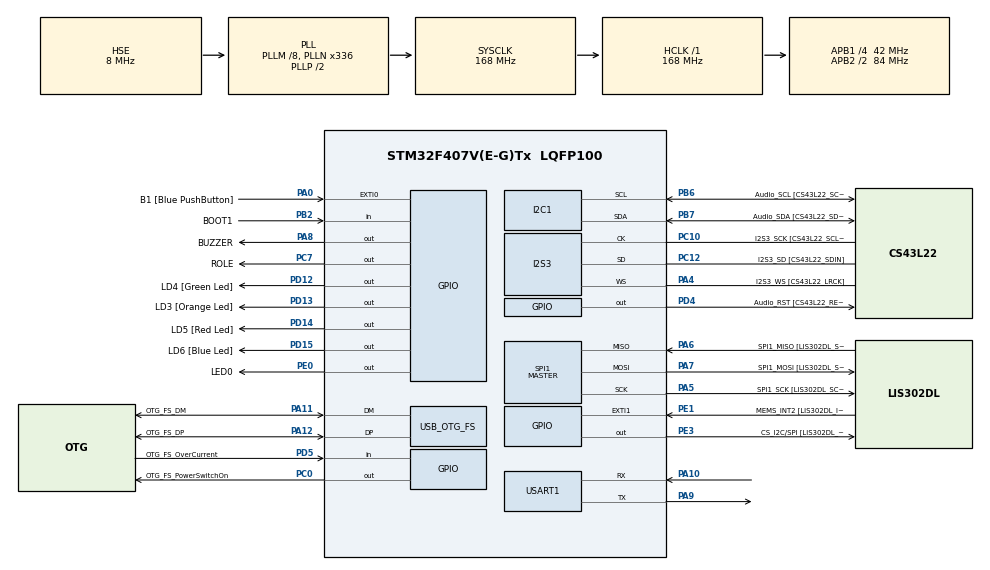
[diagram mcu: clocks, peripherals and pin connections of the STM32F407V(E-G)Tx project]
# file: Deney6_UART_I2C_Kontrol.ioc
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I2S3.ErrorAudioFreq=0.0 %
I2S3.FullDuplexMode=I2S_FULLDUPLEXMODE_DISABLE
I2S3.Instance=SPI$Index
I2S3.RealAudioFreq=8.0 KHz
I2S3.VirtualMode=I2S_MODE_MASTER
Mcu.Family=STM32F4
Mcu.Name=STM32F407V(E-G)Tx
Mcu.Package=LQFP100
NVIC.OTG_FS_IRQn=true\:0\:0\:false\:false\:true\:true\:true\:true
NVIC.PriorityGroup=NVIC_PRIORITYGROUP_0
NVIC.USART1_IRQn=true\:0\:0\:false\:false\:true\:true\:true\:true
PA0-WKUP.GPIO_Label=B1 [Blue PushButton]
PA0-WKUP.GPIO_ModeDefaultEXTI=GPIO_MODE_EVT_RISING
PA0-WKUP.GPIO_PuPd=GPIO_NOPULL
PA0-WKUP.Signal=GPXTI0
PA10.Mode=Asynchronous
PA10.Signal=USART1_RX
PA11.GPIO_Label=OTG_FS_DM
PA11.GPIO_Mode=GPIO_MODE_AF_PP
PA11.GPIO_PuPd=GPIO_NOPULL
PA11.GPIO_Speed=GPIO_SPEED_FREQ_LOW
PA11.Mode=Host_Only
PA11.Signal=USB_OTG_FS_DM
PA12.GPIO_Label=OTG_FS_DP
PA12.GPIO_Mode=GPIO_MODE_AF_PP
PA12.GPIO_PuPd=GPIO_NOPULL
PA12.GPIO_Speed=GPIO_SPEED_FREQ_LOW
PA12.Mode=Host_Only
PA12.Signal=USB_OTG_FS_DP
PA13.GPIO_Label=SWDIO
PA13.Mode=Serial_Wire
PA13.Signal=SYS_JTMS-SWDIO
PA14.GPIO_Label=SWCLK
PA14.Mode=Serial_Wire
PA14.Signal=SYS_JTCK-SWCLK
PA4.GPIO_Label=I2S3_WS [CS43L22_LRCK]
PA4.GPIO_Mode=GPIO_MODE_AF_PP
PA4.GPIO_PuPd=GPIO_NOPULL
PA4.GPIO_Speed=GPIO_SPEED_FREQ_LOW
PA4.Mode=Half_Duplex_Master
PA4.Signal=I2S3_WS
PA5.GPIO_Label=SPI1_SCK [LIS302DL_SCL/SPC]
PA5.GPIO_Mode=GPIO_MODE_AF_PP
PA5.GPIO_PuPd=GPIO_NOPULL
PA5.GPIO_Speed=GPIO_SPEED_FREQ_LOW
PA5.Mode=Full_Duplex_Master
PA5.Signal=SPI1_SCK
PA6.GPIO_Label=SPI1_MISO [LIS302DL_SDO]
PA6.GPIO_Mode=GPIO_MODE_AF_PP
PA6.GPIO_PuPd=GPIO_NOPULL
PA6.GPIO_Speed=GPIO_SPEED_FREQ_LOW
PA6.Mode=Full_Duplex_Master
PA6.Signal=SPI1_MISO
PA7.GPIO_Label=SPI1_MOSI [LIS302DL_SDA/SDI/SDO]
PA7.GPIO_Mode=GPIO_MODE_AF_PP
PA7.GPIO_PuPd=GPIO_NOPULL
PA7.GPIO_Speed=GPIO_SPEED_FREQ_LOW
PA7.Mode=Full_Duplex_Master
PA7.Signal=SPI1_MOSI
PA8.GPIO_Label=BUZZER
PA8.Signal=GPIO_Output
PA9.Mode=Asynchronous
PA9.Signal=USART1_TX
PB10.GPIO_Label=CLK_IN [MP45DT02_CLK]
PB10.GPIO_Mode=GPIO_MODE_AF_PP
PB10.GPIO_PuPd=GPIO_NOPULL
PB10.GPIO_Speed=GPIO_SPEED_FREQ_LOW
PB10.Signal=I2S2_CK
PB2.GPIO_Label=BOOT1
PB2.GPIO_Mode=GPIO_MODE_INPUT
PB2.GPIO_PuPd=GPIO_NOPULL
PB2.Signal=GPIO_Input
PB3.GPIO_Label=SWO
PB3.Signal=SYS_JTDO-SWO
PB6.GPIO_Label=Audio_SCL [CS43L22_SCL]
PB6.GPIO_Mode=GPIO_MODE_AF_OD
PB6.GPIO_Pu=GPIO_PULLUP
PB6.GPIO_PuPd=GPIO_NOPULL
PB6.GPIO_Speed=GPIO_SPEED_FREQ_LOW
PB6.Mode=I2C
PB6.Signal=I2C1_SCL
PB7.GPIO_Label=Audio_SDA [CS43L22_SDA]
PB7.GPIO_Mode=GPIO_MODE_AF_OD
PB7.GPIO_Pu=GPIO_PULLUP
PB7.GPIO_Speed=GPIO_SPEED_FREQ_LOW
PB7.Mode=I2C
PB7.Signal=I2C1_SDA
PC0.GPIO_Label=OTG_FS_PowerSwitchOn
PC0.GPIO_PuPd=GPIO_NOPULL
PC0.GPIO_Speed=GPIO_SPEED_FREQ_LOW
PC0.PinState=GPIO_PIN_SET
PC0.Signal=GPIO_Output
PC10.GPIO_Label=I2S3_SCK [CS43L22_SCLK]
PC10.GPIO_Mode=GPIO_MODE_AF_PP
PC10.GPIO_PuPd=GPIO_NOPULL
PC10.GPIO_Speed=GPIO_SPEED_FREQ_LOW
PC10.Mode=Half_Duplex_Master
PC10.Signal=I2S3_CK
PC12.GPIO_Label=I2S3_SD [CS43L22_SDIN]
PC12.GPIO_Mode=GPIO_MODE_AF_PP
PC12.GPIO_PuPd=GPIO_NOPULL
PC12.GPIO_Speed=GPIO_SPEED_FREQ_LOW
PC12.Mode=Half_Duplex_Master
PC12.Signal=I2S3_SD
PC14-OSC32_IN.GPIO_Label=PC14-OSC32_IN
PC14-OSC32_IN.Mode=LSE-External-Oscillator
PC14-OSC32_IN.Signal=RCC_OSC32_IN
PC15-OSC32_OUT.GPIO_Label=PC15-OSC32_OUT
PC15-OSC32_OUT.Mode=LSE-External-Oscillator
PC15-OSC32_OUT.Signal=RCC_OSC32_OUT
PC3.GPIO_Label=PDM_OUT [MP45DT02_DOUT]
PC3.GPIO_Mode=GPIO_MODE_AF_PP
PC3.GPIO_PuPd=GPIO_NOPULL
PC3.GPIO_Speed=GPIO_SPEED_FREQ_LOW
PC3.Signal=I2S2_SD
PC7.GPIO_Label=ROLE
PC7.Signal=GPIO_Output
PD12.GPIO_Label=LD4 [Green Led]
PD12.GPIO_PuPd=GPIO_NOPULL
PD12.GPIO_Speed=GPIO_SPEED_FREQ_LOW
PD12.Signal=GPIO_Output
PD13.GPIO_Label=LD3 [Orange Led]
PD13.GPIO_PuPd=GPIO_NOPULL
PD13.GPIO_Speed=GPIO_SPEED_FREQ_LOW
PD13.Signal=GPIO_Output
PD14.GPIO_Label=LD5 [Red Led]
PD14.GPIO_PuPd=GPIO_NOPULL
PD14.GPIO_Speed=GPIO_SPEED_FREQ_LOW
PD14.Signal=GPIO_Output
PD15.GPIO_Label=LD6 [Blue Led]
PD15.GPIO_PuPd=GPIO_NOPULL
PD15.GPIO_Speed=GPIO_SPEED_FREQ_LOW
PD15.Signal=GPIO_Output
PD4.GPIO_Label=Audio_RST [CS43L22_RESET]
PD4.GPIO_PuPd=GPIO_NOPULL
PD4.GPIO_Speed=GPIO_SPEED_FREQ_LOW
PD4.Signal=GPIO_Output
PD5.GPIO_Label=OTG_FS_OverCurrent
PD5.GPIO_Mode=GPIO_MODE_INPUT
PD5.GPIO_PuPd=GPIO_NOPULL
PD5.Signal=GPIO_Input
PE0.GPIO_Label=LED0
PE0.Signal=GPIO_Output
PE1.GPIO_Label=MEMS_INT2 [LIS302DL_INT2]
PE1.GPIO_ModeDefaultEXTI=GPIO_MODE_EVT_RISING
PE1.GPIO_PuPd=GPIO_NOPULL
PE1.Signal=GPXTI1
PE3.GPIO_Label=CS_I2C/SPI [LIS302DL_CS_I2C/SPI]
PE3.GPIO_PuPd=GPIO_NOPULL
PE3.GPIO_Speed=GPIO_SPEED_FREQ_LOW
PE3.Signal=GPIO_Output
PH0-OSC_IN.GPIO_Label=PH0-OSC_IN
PH0-OSC_IN.Mode=HSE-External-Oscillator
PH0-OSC_IN.Signal=RCC_OSC_IN
PH1-OSC_OUT.GPIO_Label=PH1-OSC_OUT
PH1-OSC_OUT.Mode=HSE-External-Oscillator
PH1-OSC_OUT.Signal=RCC_OSC_OUT
ProjectManager.HeapSize=0x200
ProjectManager.StackSize=0x400
ProjectManager.TargetToolchain=STM32CubeIDE
RCC.48MHZClocksFreq_Value=48000000
RCC.AHBFreq_Value=168000000
RCC.APB1CLKDivider=RCC_HCLK_DIV4
RCC.APB1Freq_Value=42000000
RCC.APB1TimFreq_Value=84000000
RCC.APB2CLKDivider=RCC_HCLK_DIV2
RCC.APB2Freq_Value=84000000
RCC.APB2TimFreq_Value=168000000
RCC.CortexFreq_Value=168000000
RCC.HCLKFreq_Value=168000000
RCC.HSE_VALUE=8000000
RCC.HSI_VALUE=16000000
RCC.PLLM=8
RCC.PLLN=336
RCC.PLLQ=7
RCC.SYSCLKFreq_VALUE=168000000
RCC.SYSCLKSource=RCC_SYSCLKSOURCE_PLLCLK
RCC.VCOOutputFreq_Value=336000000
SPI1.BaudRatePrescaler-Full_Duplex_Master=SPI_BAUDRATEPRESCALER_2
SPI1.CalculateBaudRate-Full_Duplex_Master=42.0 MBits/s
SPI1.Direction=SPI_DIRECTION_2LINES
SPI1.Mode=SPI_MODE_MASTER
SPI1.Mode-Full_Duplex_Master=SPI_MODE_MASTER
SPI1.VirtualType=VM_MASTER
USART1.VirtualMode=VM_ASYNC
USB_HOST.BSP.number=1
USB_HOST.USBH_HandleTypeDef-CDC_FS=hUsbHostFS
USB_HOST.VirtualModeFS=Cdc
USB_HOST0.BSP.STBoard=false
USB_HOST0.BSP.api=Unknown
USB_HOST0.BSP.instance=PC0
USB_HOST0.BSP.ip=GPIO
USB_HOST0.BSP.mode=Output
USB_HOST0.BSP.name=Drive_VBUS_FS
USB_HOST0.BSP.solution=PC0
USB_OTG_FS.VirtualMode=Host_Only
USB_OTG_FS.phy_itface=HCD_PHY_EMBEDDED
VP_USB_HOST_VS_USB_HOST_CDC_FS.Mode=CDC_FS
board=STM32F407G-DISC1

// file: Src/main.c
/* USER CODE BEGIN Header */
/**
  ******************************************************************************
  * @file           : main.c
  * @brief          : Main program body
  ******************************************************************************
  * @attention
  *
  * Copyright (c) 2026 STMicroelectronics.
  * All rights reserved.
  *
  * This software is licensed under terms that can be found in the LICENSE file
  * in the root directory of this software component.
  * If no LICENSE file comes with this software, it is provided AS-IS.
  *
  ******************************************************************************
  */
/* USER CODE END Header */
#include "main.h"
#include "usb_host.h"

/* USER CODE BEGIN Includes */
#include "ssd1306.h"        // OLED Ana Kütüphanesi
#include "ssd1306_fonts.h"  // <--- BUNU EKLE (Font Kütüphanesi)
#include <string.h>
#include <stdio.h>
/* USER CODE END Includes */

I2C_HandleTypeDef hi2c1;

I2S_HandleTypeDef hi2s3;

SPI_HandleTypeDef hspi1;

UART_HandleTypeDef huart1;

/* USER CODE BEGIN PV */
// UART üzerinden asenkron olarak alınacak 1 Byte'lık komutu tutan değişken
uint8_t rx_buffer;
/* USER CODE END PV */

void SystemClock_Config(void);
static void MX_GPIO_Init(void);
static void MX_I2C1_Init(void);
static void MX_I2S3_Init(void);
static void MX_SPI1_Init(void);
static void MX_USART1_UART_Init(void);
void MX_USB_HOST_Process(void);

int main(void)
{

  /* MCU Configuration--------------------------------------------------------*/

  /* Reset of all peripherals, Initializes the Flash interface and the Systick. */
  HAL_Init();

  /* Configure the system clock */
  SystemClock_Config();

  /* Initialize all configured peripherals */
  MX_GPIO_Init();
  MX_I2C1_Init();
  MX_I2S3_Init();
  MX_SPI1_Init();
  MX_USB_HOST_Init();
  MX_USART1_UART_Init();
  /* USER CODE BEGIN 2 */

    // --- 1. OLED Ekran Başlatma Rutini ---
    HAL_Delay(200);
  	ssd1306_Init();                         // I2C üzerinden ekrana başlangıç komutlarını gönderir
    ssd1306_Fill(Black);                    // Ekran belleğini temizler (Siyah renk)

    ssd1306_SetCursor(5, 10);               // X:5, Y:10 koordinatına git
    ssd1306_WriteString("SISTEM HAZIR", Font_11x18, White);

    ssd1306_SetCursor(5, 35);
    ssd1306_WriteString("Baglanti Bekleniyor", Font_7x10, White);
    ssd1306_UpdateScreen();                 // Yazılanları RAM'den fiziksel ekrana aktarır

    // --- 2. UART Kesmesinin (Interrupt) Başlatılması ---
    // USART2 üzerinden 1 byte veri geldiğinde donanım kesmesi oluşturmasını sağlar.
    HAL_UART_Receive_IT(&huart1, &rx_buffer, 1); // huart2 yerine huart1 olacak

  /* USER CODE END 2 */

  /* Infinite loop */
  while (1)
  {
    MX_USB_HOST_Process();

    /* USER CODE BEGIN 3 */
                         // Yarım saniye bekle
  /* USER CODE END 3 */
}
}
void SystemClock_Config(void)
{
  RCC_OscInitTypeDef RCC_OscInitStruct = {0};
  RCC_ClkInitTypeDef RCC_ClkInitStruct = {0};

  /** Configure the main internal regulator output voltage
  */
  __HAL_RCC_PWR_CLK_ENABLE();
  __HAL_PWR_VOLTAGESCALING_CONFIG(PWR_REGULATOR_VOLTAGE_SCALE1);

  /** Initializes the RCC Oscillators according to the specified parameters
  * in the RCC_OscInitTypeDef structure.
  */
  RCC_OscInitStruct.OscillatorType = RCC_OSCILLATORTYPE_HSE;
  RCC_OscInitStruct.HSEState = RCC_HSE_ON;
  RCC_OscInitStruct.PLL.PLLState = RCC_PLL_ON;
  RCC_OscInitStruct.PLL.PLLSource = RCC_PLLSOURCE_HSE;
  RCC_OscInitStruct.PLL.PLLM = 8;
  RCC_OscInitStruct.PLL.PLLN = 336;
  RCC_OscInitStruct.PLL.PLLP = RCC_PLLP_DIV2;
  RCC_OscInitStruct.PLL.PLLQ = 7;
  if (HAL_RCC_OscConfig(&RCC_OscInitStruct) != HAL_OK)
  {
    Error_Handler();
  }

  /** Initializes the CPU, AHB and APB buses clocks
  */
  RCC_ClkInitStruct.ClockType = RCC_CLOCKTYPE_HCLK|RCC_CLOCKTYPE_SYSCLK
                              |RCC_CLOCKTYPE_PCLK1|RCC_CLOCKTYPE_PCLK2;
  RCC_ClkInitStruct.SYSCLKSource = RCC_SYSCLKSOURCE_PLLCLK;
  RCC_ClkInitStruct.AHBCLKDivider = RCC_SYSCLK_DIV1;
  RCC_ClkInitStruct.APB1CLKDivider = RCC_HCLK_DIV4;
  RCC_ClkInitStruct.APB2CLKDivider = RCC_HCLK_DIV2;

  if (HAL_RCC_ClockConfig(&RCC_ClkInitStruct, FLASH_LATENCY_5) != HAL_OK)
  {
    Error_Handler();
  }
}

static void MX_I2C1_Init(void)
{

  hi2c1.Instance = I2C1;
  hi2c1.Init.ClockSpeed = 100000;
  hi2c1.Init.DutyCycle = I2C_DUTYCYCLE_2;
  hi2c1.Init.OwnAddress1 = 0;
  hi2c1.Init.AddressingMode = I2C_ADDRESSINGMODE_7BIT;
  hi2c1.Init.DualAddressMode = I2C_DUALADDRESS_DISABLE;
  hi2c1.Init.OwnAddress2 = 0;
  hi2c1.Init.GeneralCallMode = I2C_GENERALCALL_DISABLE;
  hi2c1.Init.NoStretchMode = I2C_NOSTRETCH_DISABLE;
  if (HAL_I2C_Init(&hi2c1) != HAL_OK)
  {
    Error_Handler();
  }

}

static void MX_I2S3_Init(void)
{

  hi2s3.Instance = SPI3;
  hi2s3.Init.Mode = I2S_MODE_MASTER_TX;
  hi2s3.Init.Standard = I2S_STANDARD_PHILIPS;
  hi2s3.Init.DataFormat = I2S_DATAFORMAT_16B;
  hi2s3.Init.MCLKOutput = I2S_MCLKOUTPUT_DISABLE;
  hi2s3.Init.AudioFreq = I2S_AUDIOFREQ_8K;
  hi2s3.Init.CPOL = I2S_CPOL_LOW;
  hi2s3.Init.ClockSource = I2S_CLOCK_PLL;
  hi2s3.Init.FullDuplexMode = I2S_FULLDUPLEXMODE_DISABLE;
  if (HAL_I2S_Init(&hi2s3) != HAL_OK)
  {
    Error_Handler();
  }

}

static void MX_SPI1_Init(void)
{

  /* SPI1 parameter configuration*/
  hspi1.Instance = SPI1;
  hspi1.Init.Mode = SPI_MODE_MASTER;
  hspi1.Init.Direction = SPI_DIRECTION_2LINES;
  hspi1.Init.DataSize = SPI_DATASIZE_8BIT;
  hspi1.Init.CLKPolarity = SPI_POLARITY_LOW;
  hspi1.Init.CLKPhase = SPI_PHASE_1EDGE;
  hspi1.Init.NSS = SPI_NSS_SOFT;
  hspi1.Init.BaudRatePrescaler = SPI_BAUDRATEPRESCALER_2;
  hspi1.Init.FirstBit = SPI_FIRSTBIT_MSB;
  hspi1.Init.TIMode = SPI_TIMODE_DISABLE;
  hspi1.Init.CRCCalculation = SPI_CRCCALCULATION_DISABLE;
  hspi1.Init.CRCPolynomial = 10;
  if (HAL_SPI_Init(&hspi1) != HAL_OK)
  {
    Error_Handler();
  }

}

static void MX_USART1_UART_Init(void)
{

  huart1.Instance = USART1;
  huart1.Init.BaudRate = 115200;
  huart1.Init.WordLength = UART_WORDLENGTH_8B;
  huart1.Init.StopBits = UART_STOPBITS_1;
  huart1.Init.Parity = UART_PARITY_NONE;
  huart1.Init.Mode = UART_MODE_TX_RX;
  huart1.Init.HwFlowCtl = UART_HWCONTROL_NONE;
  huart1.Init.OverSampling = UART_OVERSAMPLING_16;
  if (HAL_UART_Init(&huart1) != HAL_OK)
  {
    Error_Handler();
  }

}

static void MX_GPIO_Init(void)
{
  GPIO_InitTypeDef GPIO_InitStruct = {0};

  /* GPIO Ports Clock Enable */
  __HAL_RCC_GPIOE_CLK_ENABLE();
  __HAL_RCC_GPIOC_CLK_ENABLE();
  __HAL_RCC_GPIOH_CLK_ENABLE();
  __HAL_RCC_GPIOA_CLK_ENABLE();
  __HAL_RCC_GPIOB_CLK_ENABLE();
  __HAL_RCC_GPIOD_CLK_ENABLE();

  /*Configure GPIO pin Output Level */
  HAL_GPIO_WritePin(GPIOE, CS_I2C_SPI_Pin|LED0_Pin, GPIO_PIN_RESET);

  /*Configure GPIO pin Output Level */
  HAL_GPIO_WritePin(OTG_FS_PowerSwitchOn_GPIO_Port, OTG_FS_PowerSwitchOn_Pin, GPIO_PIN_SET);

  /*Configure GPIO pin Output Level */
  HAL_GPIO_WritePin(GPIOD, LD4_Pin|LD3_Pin|LD5_Pin|LD6_Pin
                          |Audio_RST_Pin, GPIO_PIN_RESET);

  /*Configure GPIO pin Output Level */
  HAL_GPIO_WritePin(ROLE_GPIO_Port, ROLE_Pin, GPIO_PIN_RESET);

  /*Configure GPIO pin Output Level */
  HAL_GPIO_WritePin(BUZZER_GPIO_Port, BUZZER_Pin, GPIO_PIN_RESET);

  /*Configure GPIO pins : CS_I2C_SPI_Pin LED0_Pin */
  GPIO_InitStruct.Pin = CS_I2C_SPI_Pin|LED0_Pin;
  GPIO_InitStruct.Mode = GPIO_MODE_OUTPUT_PP;
  GPIO_InitStruct.Pull = GPIO_NOPULL;
  GPIO_InitStruct.Speed = GPIO_SPEED_FREQ_LOW;
  HAL_GPIO_Init(GPIOE, &GPIO_InitStruct);

  /*Configure GPIO pins : OTG_FS_PowerSwitchOn_Pin ROLE_Pin */
  GPIO_InitStruct.Pin = OTG_FS_PowerSwitchOn_Pin|ROLE_Pin;
  GPIO_InitStruct.Mode = GPIO_MODE_OUTPUT_PP;
  GPIO_InitStruct.Pull = GPIO_NOPULL;
  GPIO_InitStruct.Speed = GPIO_SPEED_FREQ_LOW;
  HAL_GPIO_Init(GPIOC, &GPIO_InitStruct);

  /*Configure GPIO pin : PDM_OUT_Pin */
  GPIO_InitStruct.Pin = PDM_OUT_Pin;
  GPIO_InitStruct.Mode = GPIO_MODE_AF_PP;
  GPIO_InitStruct.Pull = GPIO_NOPULL;
  GPIO_InitStruct.Speed = GPIO_SPEED_FREQ_LOW;
  GPIO_InitStruct.Alternate = GPIO_AF5_SPI2;
  HAL_GPIO_Init(PDM_OUT_GPIO_Port, &GPIO_InitStruct);

  /*Configure GPIO pin : B1_Pin */
  GPIO_InitStruct.Pin = B1_Pin;
  GPIO_InitStruct.Mode = GPIO_MODE_EVT_RISING;
  GPIO_InitStruct.Pull = GPIO_NOPULL;
  HAL_GPIO_Init(B1_GPIO_Port, &GPIO_InitStruct);

  /*Configure GPIO pin : BOOT1_Pin */
  GPIO_InitStruct.Pin = BOOT1_Pin;
  GPIO_InitStruct.Mode = GPIO_MODE_INPUT;
  GPIO_InitStruct.Pull = GPIO_NOPULL;
  HAL_GPIO_Init(BOOT1_GPIO_Port, &GPIO_InitStruct);

  /*Configure GPIO pin : CLK_IN_Pin */
  GPIO_InitStruct.Pin = CLK_IN_Pin;
  GPIO_InitStruct.Mode = GPIO_MODE_AF_PP;
  GPIO_InitStruct.Pull = GPIO_NOPULL;
  GPIO_InitStruct.Speed = GPIO_SPEED_FREQ_LOW;
  GPIO_InitStruct.Alternate = GPIO_AF5_SPI2;
  HAL_GPIO_Init(CLK_IN_GPIO_Port, &GPIO_InitStruct);

  /*Configure GPIO pins : LD4_Pin LD3_Pin LD5_Pin LD6_Pin
                           Audio_RST_Pin */
  GPIO_InitStruct.Pin = LD4_Pin|LD3_Pin|LD5_Pin|LD6_Pin
                          |Audio_RST_Pin;
  GPIO_InitStruct.Mode = GPIO_MODE_OUTPUT_PP;
  GPIO_InitStruct.Pull = GPIO_NOPULL;
  GPIO_InitStruct.Speed = GPIO_SPEED_FREQ_LOW;
  HAL_GPIO_Init(GPIOD, &GPIO_InitStruct);

  /*Configure GPIO pin : BUZZER_Pin */
  GPIO_InitStruct.Pin = BUZZER_Pin;
  GPIO_InitStruct.Mode = GPIO_MODE_OUTPUT_PP;
  GPIO_InitStruct.Pull = GPIO_NOPULL;
  GPIO_InitStruct.Speed = GPIO_SPEED_FREQ_LOW;
  HAL_GPIO_Init(BUZZER_GPIO_Port, &GPIO_InitStruct);

  /*Configure GPIO pin : OTG_FS_OverCurrent_Pin */
  GPIO_InitStruct.Pin = OTG_FS_OverCurrent_Pin;
  GPIO_InitStruct.Mode = GPIO_MODE_INPUT;
  GPIO_InitStruct.Pull = GPIO_NOPULL;
  HAL_GPIO_Init(OTG_FS_OverCurrent_GPIO_Port, &GPIO_InitStruct);

  /*Configure GPIO pin : MEMS_INT2_Pin */
  GPIO_InitStruct.Pin = MEMS_INT2_Pin;
  GPIO_InitStruct.Mode = GPIO_MODE_EVT_RISING;
  GPIO_InitStruct.Pull = GPIO_NOPULL;
  HAL_GPIO_Init(MEMS_INT2_GPIO_Port, &GPIO_InitStruct);

}

/* USER CODE BEGIN 4 */

void HAL_UART_RxCpltCallback(UART_HandleTypeDef *huart)
{
    // Gelen kesmenin bizim beklediğimiz USART1 hattından gelip gelmediği kontrol edilir
    if (huart->Instance == USART1)
    {
        ssd1306_Fill(Black); // Yeni mesaj için ekranı temizle
        ssd1306_SetCursor(5, 5);
        ssd1306_WriteString("-- SON DURUM --", Font_11x18, White);
        ssd1306_SetCursor(5, 35);

        // Gelen komutun (rx_buffer) ASCII değerine göre analiz yapılması
        switch(rx_buffer)
        {
            case 'R': // Röle Kontrolü
                HAL_GPIO_TogglePin(GPIOC, GPIO_PIN_7);
                ssd1306_WriteString("ROLE TETIKLENDI", Font_7x10, White);
                HAL_UART_Transmit(&huart1, (uint8_t*)"Role Konumu Degisti\n", 20, 100);
                break;

            case 'L': // LED Kontrolü
                HAL_GPIO_TogglePin(GPIOE, GPIO_PIN_0);
                ssd1306_WriteString("LED TETIKLENDI", Font_7x10, White);
                HAL_UART_Transmit(&huart1, (uint8_t*)"LED Konumu Degisti\n", 19, 100);
                break;

            case 'B': // Buzzer Kontrolü
                HAL_GPIO_TogglePin(GPIOA, GPIO_PIN_8);
                ssd1306_WriteString("BUZZER TETIKLENDI", Font_7x10, White);
                HAL_UART_Transmit(&huart1, (uint8_t*)"Buzzer Tetiklendi\n", 18, 100);
                break;

            default: // Bilinmeyen Komut
                ssd1306_WriteString("GECERSIZ KOMUT!", Font_7x10, White);
                HAL_UART_Transmit(&huart1, (uint8_t*)"Hatali Komut\n", 13, 100);
                break;
        }

        ssd1306_UpdateScreen(); // OLED ekranı yeni mesajla güncelle

        // İşlemciyi bir sonraki gelecek byte için tekrar dinleme moduna al (huart1)
        HAL_UART_Receive_IT(&huart1, &rx_buffer, 1);
    }
}

/* USER CODE END 4 */

void Error_Handler(void)
{
  __disable_irq();
  while (1)
  {
  }
}
